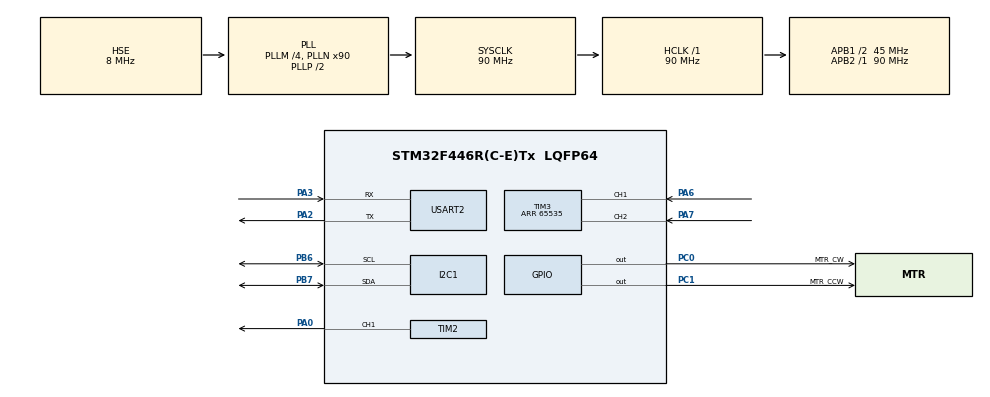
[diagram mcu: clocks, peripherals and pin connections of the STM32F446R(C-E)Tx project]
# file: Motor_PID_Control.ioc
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Dma.Request0=USART2_RX
Dma.Request1=USART2_TX
Dma.USART2_RX.0.Direction=DMA_PERIPH_TO_MEMORY
Dma.USART2_RX.0.FIFOMode=DMA_FIFOMODE_DISABLE
Dma.USART2_RX.0.Instance=DMA1_Stream5
Dma.USART2_RX.0.MemDataAlignment=DMA_MDATAALIGN_BYTE
Dma.USART2_RX.0.MemInc=DMA_MINC_ENABLE
Dma.USART2_RX.0.Mode=DMA_CIRCULAR
Dma.USART2_RX.0.PeriphDataAlignment=DMA_PDATAALIGN_BYTE
Dma.USART2_RX.0.PeriphInc=DMA_PINC_DISABLE
Dma.USART2_RX.0.Priority=DMA_PRIORITY_LOW
Dma.USART2_TX.1.Direction=DMA_MEMORY_TO_PERIPH
Dma.USART2_TX.1.FIFOMode=DMA_FIFOMODE_DISABLE
Dma.USART2_TX.1.Instance=DMA1_Stream6
Dma.USART2_TX.1.MemDataAlignment=DMA_MDATAALIGN_BYTE
Dma.USART2_TX.1.MemInc=DMA_MINC_ENABLE
Dma.USART2_TX.1.Mode=DMA_CIRCULAR
Dma.USART2_TX.1.PeriphDataAlignment=DMA_PDATAALIGN_BYTE
Dma.USART2_TX.1.PeriphInc=DMA_PINC_DISABLE
Dma.USART2_TX.1.Priority=DMA_PRIORITY_LOW
I2C1.I2C_Mode=I2C_Fast
Mcu.Family=STM32F4
Mcu.Name=STM32F446R(C-E)Tx
Mcu.Package=LQFP64
Mcu.UserConstants=MTR_MAX,12.0;MTR_MIN,-12.0;PWM_ARR,10000;MAX_DUTY,1.0;MIN_DUTY,-1.0;ENC_PPR,4000
NVIC.DMA1_Stream5_IRQn=true\:0\:0\:false\:false\:true\:false\:true\:true
NVIC.DMA1_Stream6_IRQn=true\:0\:0\:false\:false\:true\:false\:true\:true
NVIC.PriorityGroup=NVIC_PRIORITYGROUP_4
NVIC.TIM4_IRQn=true\:0\:0\:false\:false\:true\:true\:true\:true
NVIC.USART2_IRQn=true\:0\:0\:false\:false\:true\:true\:true\:true
PA0-WKUP.Signal=S_TIM2_CH1_ETR
PA13.Mode=Serial_Wire
PA13.Signal=SYS_JTMS-SWDIO
PA14.Mode=Serial_Wire
PA14.Signal=SYS_JTCK-SWCLK
PA2.Mode=Asynchronous
PA2.Signal=USART2_TX
PA3.Mode=Asynchronous
PA3.Signal=USART2_RX
PA6.Signal=S_TIM3_CH1
PA7.Signal=S_TIM3_CH2
PB6.Mode=I2C
PB6.Signal=I2C1_SCL
PB7.Mode=I2C
PB7.Signal=I2C1_SDA
PC0.GPIO_Label=MTR_CW
PC0.Signal=GPIO_Output
PC1.GPIO_Label=MTR_CCW
PC1.Signal=GPIO_Output
PH0-OSC_IN.Mode=HSE-External-Oscillator
PH0-OSC_IN.Signal=RCC_OSC_IN
PH1-OSC_OUT.Mode=HSE-External-Oscillator
PH1-OSC_OUT.Signal=RCC_OSC_OUT
ProjectManager.HeapSize=0x200
ProjectManager.StackSize=0x400
ProjectManager.TargetToolchain=STM32CubeIDE
RCC.AHBFreq_Value=90000000
RCC.APB1CLKDivider=RCC_HCLK_DIV2
RCC.APB1Freq_Value=45000000
RCC.APB1TimFreq_Value=90000000
RCC.APB2Freq_Value=90000000
RCC.APB2TimFreq_Value=90000000
RCC.CortexFreq_Value=90000000
RCC.HCLKFreq_Value=90000000
RCC.HSE_VALUE=8000000
RCC.PLLM=4
RCC.PLLN=90
RCC.PLLSourceVirtual=RCC_PLLSOURCE_HSE
RCC.SYSCLKFreq_VALUE=90000000
RCC.SYSCLKSource=RCC_SYSCLKSOURCE_PLLCLK
RCC.USBFreq_Value=90000000
RCC.VCOOutputFreq_Value=180000000
SH.S_TIM2_CH1_ETR.0=TIM2_CH1,PWM Generation1 CH1
SH.S_TIM3_CH1.0=TIM3_CH1,Encoder_Interface
SH.S_TIM3_CH2.0=TIM3_CH2,Encoder_Interface
TIM2.Channel-PWM\ Generation1\ CH1=TIM_CHANNEL_1
TIM2.Period=10000-1
TIM2.Prescaler=90-1
TIM3.EncoderMode=TIM_ENCODERMODE_TI12
TIM3.IC1Filter=15
TIM3.IC2Filter=15
TIM3.Period=65535
TIM4.Period=1000-1
TIM4.Prescaler=90-1
USART2.VirtualMode=VM_ASYNC
VP_TIM2_VS_ClockSourceINT.Mode=Internal
VP_TIM4_VS_ClockSourceINT.Mode=Internal
board=custom

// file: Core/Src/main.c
/* USER CODE BEGIN Header */
/**
  ******************************************************************************
  * @file           : main.c
  * @brief          : Main program body
  ******************************************************************************
  * @attention
  *
  * Copyright (c) 2025 STMicroelectronics.
  * All rights reserved.
  *
  * This software is licensed under terms that can be found in the LICENSE file
  * in the root directory of this software component.
  * If no LICENSE file comes with this software, it is provided AS-IS.
  *
  ******************************************************************************
  */
/* USER CODE END Header */
#include "main.h"

/* USER CODE BEGIN Includes */
#include "motor.h"
#include "encoder.h"
#include "pid.h"
/* USER CODE END Includes */

/* USER CODE BEGIN PTD */
typedef struct
{
	float time;
	float pos;
	float vel;
	float tau;
} Data;

/* USER CODE END PTD */

/* USER CODE BEGIN PD */
#define MTR_INIT_POS 0.0
#define TX_BUFF_SIZE 5001
#define SAMP_TIME 0.001
#define REFERENCE M_PI
/* a little bit overshoot */
#define KP 2.
#define KI .001
#define KD 3
/* USER CODE END PD */

I2C_HandleTypeDef hi2c1;

TIM_HandleTypeDef htim2;
TIM_HandleTypeDef htim3;
TIM_HandleTypeDef htim4;

UART_HandleTypeDef huart2;
DMA_HandleTypeDef hdma_usart2_rx;
DMA_HandleTypeDef hdma_usart2_tx;

/* USER CODE BEGIN PV */
Data myData[TX_BUFF_SIZE];
Encoder *e;
PID *pid;
uint16_t buff_index, routine, cnt;
char message[100];
/* USER CODE END PV */

void SystemClock_Config(void);
static void MX_GPIO_Init(void);
static void MX_DMA_Init(void);
static void MX_I2C1_Init(void);
static void MX_TIM2_Init(void);
static void MX_TIM3_Init(void);
static void MX_TIM4_Init(void);
static void MX_USART2_UART_Init(void);
/* USER CODE BEGIN PFP */
void ctrl_loop(void);
void data_Enqueue(float, float, float, float);
void data_Dequeue(void);
void signal_filter(Data *myData, uint16_t index);
/* USER CODE END PFP */

/* USER CODE BEGIN 0 */
void HAL_TIM_PeriodElapsedCallback(TIM_HandleTypeDef *htim)
{
	if (htim == &htim4)
	{
		ctrl_loop();
	}
}
void ctrl_loop(void)
{
	float time, pos, vel, tau, duty;
	cnt = __HAL_TIM_GET_COUNTER(&htim3);
	time = routine++ * SAMP_TIME;
	pos = ENC_pos(e, cnt) + MTR_INIT_POS;
	vel = ENC_vel(e, pos);
	tau = pid_control(pid, pos, REFERENCE);
	duty = mtr_duty(tau);
	mtr_output(duty);
	/* Load the data into the buffer. */
	data_Enqueue(time, pos, vel, tau);
}
void data_Enqueue(float time, float pos, float vel, float tau)
{
	if (buff_index >= TX_BUFF_SIZE)
	{
		HAL_TIM_PWM_Stop(&htim2, TIM_CHANNEL_1);
		HAL_TIM_Base_Stop_IT(&htim4);
		mtr_init();
		data_Dequeue();
	}
	myData[buff_index].time = time;
	myData[buff_index].pos = pos;
	myData[buff_index].vel = vel;
	myData[buff_index].tau = tau;
	buff_index++;
}
void data_Dequeue(void)
{
	for (uint16_t i = 0; i < TX_BUFF_SIZE; i++)
	{
		if (i) signal_filter(myData, i);
		sprintf(message, "%.3f,%.3f,%.3f,%.3f\r\n", myData[i].time, myData[i].pos, myData[i].vel, myData[i].tau);
		HAL_UART_Transmit(&huart2, (uint8_t *)message, strlen((char *)message), HAL_MAX_DELAY);
	}
}
void signal_filter(Data *myData, uint16_t index)
{
	float tau_pos, tau_vel, alpha_pos, alpha_vel;
	tau_pos = 0.002;
	tau_vel = 0.02;

	alpha_pos = SAMP_TIME / (SAMP_TIME + tau_pos);
	alpha_vel = SAMP_TIME / (SAMP_TIME + tau_vel);

	myData[index].pos = alpha_pos * myData[index].pos + (1 - alpha_pos) * myData[index - 1].pos;
	myData[index].vel = alpha_vel * myData[index].vel + (1 - alpha_vel) * myData[index - 1].vel;
}
/* USER CODE END 0 */

int main(void)
{

  /* MCU Configuration--------------------------------------------------------*/

  /* Reset of all peripherals, Initializes the Flash interface and the Systick. */
  HAL_Init();

  /* Configure the system clock */
  SystemClock_Config();

  /* Initialize all configured peripherals */
  MX_GPIO_Init();
  MX_DMA_Init();
  MX_I2C1_Init();
  MX_TIM2_Init();
  MX_TIM3_Init();
  MX_TIM4_Init();
  MX_USART2_UART_Init();
  /* USER CODE BEGIN 2 */
  HAL_TIM_PWM_Start(&htim2, TIM_CHANNEL_1);
  HAL_TIM_Encoder_Start(&htim3, TIM_CHANNEL_ALL);
  HAL_TIM_Base_Start_IT(&htim4);

  e = &((Encoder)
	  {
		.Ts = SAMP_TIME,
		.pre_pos = 0.0,
		.MTR_PPR = ENC_PPR,
		.pre_cnt = 0
	  });
  pid = &( (PID) {
    		.Kp = KP,
    		.Ki = KI,
    		.Kd = KD,
    		.err_pre = 0.0,
			.err_sum = 0.0,
    		.max_PID = MTR_MAX,
    		.min_PID = MTR_MIN,
    		.max_Integral = MTR_MAX / 2.0
        });
  memset(myData, 0, sizeof(Data));
  /* USER CODE END 2 */

  /* Infinite loop */
  while (1)
  {

  }
}

void SystemClock_Config(void)
{
  RCC_OscInitTypeDef RCC_OscInitStruct = {0};
  RCC_ClkInitTypeDef RCC_ClkInitStruct = {0};

  /** Configure the main internal regulator output voltage
  */
  __HAL_RCC_PWR_CLK_ENABLE();
  __HAL_PWR_VOLTAGESCALING_CONFIG(PWR_REGULATOR_VOLTAGE_SCALE3);

  /** Initializes the RCC Oscillators according to the specified parameters
  * in the RCC_OscInitTypeDef structure.
  */
  RCC_OscInitStruct.OscillatorType = RCC_OSCILLATORTYPE_HSE;
  RCC_OscInitStruct.HSEState = RCC_HSE_ON;
  RCC_OscInitStruct.PLL.PLLState = RCC_PLL_ON;
  RCC_OscInitStruct.PLL.PLLSource = RCC_PLLSOURCE_HSE;
  RCC_OscInitStruct.PLL.PLLM = 4;
  RCC_OscInitStruct.PLL.PLLN = 90;
  RCC_OscInitStruct.PLL.PLLP = RCC_PLLP_DIV2;
  RCC_OscInitStruct.PLL.PLLQ = 2;
  RCC_OscInitStruct.PLL.PLLR = 2;
  if (HAL_RCC_OscConfig(&RCC_OscInitStruct) != HAL_OK)
  {
    Error_Handler();
  }

  /** Initializes the CPU, AHB and APB buses clocks
  */
  RCC_ClkInitStruct.ClockType = RCC_CLOCKTYPE_HCLK|RCC_CLOCKTYPE_SYSCLK
                              |RCC_CLOCKTYPE_PCLK1|RCC_CLOCKTYPE_PCLK2;
  RCC_ClkInitStruct.SYSCLKSource = RCC_SYSCLKSOURCE_PLLCLK;
  RCC_ClkInitStruct.AHBCLKDivider = RCC_SYSCLK_DIV1;
  RCC_ClkInitStruct.APB1CLKDivider = RCC_HCLK_DIV2;
  RCC_ClkInitStruct.APB2CLKDivider = RCC_HCLK_DIV1;

  if (HAL_RCC_ClockConfig(&RCC_ClkInitStruct, FLASH_LATENCY_2) != HAL_OK)
  {
    Error_Handler();
  }
}

static void MX_I2C1_Init(void)
{

  hi2c1.Instance = I2C1;
  hi2c1.Init.ClockSpeed = 400000;
  hi2c1.Init.DutyCycle = I2C_DUTYCYCLE_2;
  hi2c1.Init.OwnAddress1 = 0;
  hi2c1.Init.AddressingMode = I2C_ADDRESSINGMODE_7BIT;
  hi2c1.Init.DualAddressMode = I2C_DUALADDRESS_DISABLE;
  hi2c1.Init.OwnAddress2 = 0;
  hi2c1.Init.GeneralCallMode = I2C_GENERALCALL_DISABLE;
  hi2c1.Init.NoStretchMode = I2C_NOSTRETCH_DISABLE;
  if (HAL_I2C_Init(&hi2c1) != HAL_OK)
  {
    Error_Handler();
  }

}

static void MX_TIM2_Init(void)
{

  TIM_ClockConfigTypeDef sClockSourceConfig = {0};
  TIM_MasterConfigTypeDef sMasterConfig = {0};
  TIM_OC_InitTypeDef sConfigOC = {0};

  htim2.Instance = TIM2;
  htim2.Init.Prescaler = 90-1;
  htim2.Init.CounterMode = TIM_COUNTERMODE_UP;
  htim2.Init.Period = 10000-1;
  htim2.Init.ClockDivision = TIM_CLOCKDIVISION_DIV1;
  htim2.Init.AutoReloadPreload = TIM_AUTORELOAD_PRELOAD_DISABLE;
  if (HAL_TIM_Base_Init(&htim2) != HAL_OK)
  {
    Error_Handler();
  }
  sClockSourceConfig.ClockSource = TIM_CLOCKSOURCE_INTERNAL;
  if (HAL_TIM_ConfigClockSource(&htim2, &sClockSourceConfig) != HAL_OK)
  {
    Error_Handler();
  }
  if (HAL_TIM_PWM_Init(&htim2) != HAL_OK)
  {
    Error_Handler();
  }
  sMasterConfig.MasterOutputTrigger = TIM_TRGO_RESET;
  sMasterConfig.MasterSlaveMode = TIM_MASTERSLAVEMODE_DISABLE;
  if (HAL_TIMEx_MasterConfigSynchronization(&htim2, &sMasterConfig) != HAL_OK)
  {
    Error_Handler();
  }
  sConfigOC.OCMode = TIM_OCMODE_PWM1;
  sConfigOC.Pulse = 0;
  sConfigOC.OCPolarity = TIM_OCPOLARITY_HIGH;
  sConfigOC.OCFastMode = TIM_OCFAST_DISABLE;
  if (HAL_TIM_PWM_ConfigChannel(&htim2, &sConfigOC, TIM_CHANNEL_1) != HAL_OK)
  {
    Error_Handler();
  }
  HAL_TIM_MspPostInit(&htim2);

}

static void MX_TIM3_Init(void)
{

  TIM_Encoder_InitTypeDef sConfig = {0};
  TIM_MasterConfigTypeDef sMasterConfig = {0};

  htim3.Instance = TIM3;
  htim3.Init.Prescaler = 0;
  htim3.Init.CounterMode = TIM_COUNTERMODE_UP;
  htim3.Init.Period = 65535;
  htim3.Init.ClockDivision = TIM_CLOCKDIVISION_DIV1;
  htim3.Init.AutoReloadPreload = TIM_AUTORELOAD_PRELOAD_DISABLE;
  sConfig.EncoderMode = TIM_ENCODERMODE_TI12;
  sConfig.IC1Polarity = TIM_ICPOLARITY_RISING;
  sConfig.IC1Selection = TIM_ICSELECTION_DIRECTTI;
  sConfig.IC1Prescaler = TIM_ICPSC_DIV1;
  sConfig.IC1Filter = 15;
  sConfig.IC2Polarity = TIM_ICPOLARITY_RISING;
  sConfig.IC2Selection = TIM_ICSELECTION_DIRECTTI;
  sConfig.IC2Prescaler = TIM_ICPSC_DIV1;
  sConfig.IC2Filter = 15;
  if (HAL_TIM_Encoder_Init(&htim3, &sConfig) != HAL_OK)
  {
    Error_Handler();
  }
  sMasterConfig.MasterOutputTrigger = TIM_TRGO_RESET;
  sMasterConfig.MasterSlaveMode = TIM_MASTERSLAVEMODE_DISABLE;
  if (HAL_TIMEx_MasterConfigSynchronization(&htim3, &sMasterConfig) != HAL_OK)
  {
    Error_Handler();
  }

}

static void MX_TIM4_Init(void)
{

  TIM_ClockConfigTypeDef sClockSourceConfig = {0};
  TIM_MasterConfigTypeDef sMasterConfig = {0};

  htim4.Instance = TIM4;
  htim4.Init.Prescaler = 90-1;
  htim4.Init.CounterMode = TIM_COUNTERMODE_UP;
  htim4.Init.Period = 1000-1;
  htim4.Init.ClockDivision = TIM_CLOCKDIVISION_DIV1;
  htim4.Init.AutoReloadPreload = TIM_AUTORELOAD_PRELOAD_DISABLE;
  if (HAL_TIM_Base_Init(&htim4) != HAL_OK)
  {
    Error_Handler();
  }
  sClockSourceConfig.ClockSource = TIM_CLOCKSOURCE_INTERNAL;
  if (HAL_TIM_ConfigClockSource(&htim4, &sClockSourceConfig) != HAL_OK)
  {
    Error_Handler();
  }
  sMasterConfig.MasterOutputTrigger = TIM_TRGO_RESET;
  sMasterConfig.MasterSlaveMode = TIM_MASTERSLAVEMODE_DISABLE;
  if (HAL_TIMEx_MasterConfigSynchronization(&htim4, &sMasterConfig) != HAL_OK)
  {
    Error_Handler();
  }

}

static void MX_USART2_UART_Init(void)
{

  huart2.Instance = USART2;
  huart2.Init.BaudRate = 115200;
  huart2.Init.WordLength = UART_WORDLENGTH_8B;
  huart2.Init.StopBits = UART_STOPBITS_1;
  huart2.Init.Parity = UART_PARITY_NONE;
  huart2.Init.Mode = UART_MODE_TX_RX;
  huart2.Init.HwFlowCtl = UART_HWCONTROL_NONE;
  huart2.Init.OverSampling = UART_OVERSAMPLING_16;
  if (HAL_UART_Init(&huart2) != HAL_OK)
  {
    Error_Handler();
  }

}

static void MX_DMA_Init(void)
{

  /* DMA controller clock enable */
  __HAL_RCC_DMA1_CLK_ENABLE();

  /* DMA interrupt init */
  /* DMA1_Stream5_IRQn interrupt configuration */
  HAL_NVIC_SetPriority(DMA1_Stream5_IRQn, 0, 0);
  HAL_NVIC_EnableIRQ(DMA1_Stream5_IRQn);
  /* DMA1_Stream6_IRQn interrupt configuration */
  HAL_NVIC_SetPriority(DMA1_Stream6_IRQn, 0, 0);
  HAL_NVIC_EnableIRQ(DMA1_Stream6_IRQn);

}

static void MX_GPIO_Init(void)
{
  GPIO_InitTypeDef GPIO_InitStruct = {0};

  /* GPIO Ports Clock Enable */
  __HAL_RCC_GPIOH_CLK_ENABLE();
  __HAL_RCC_GPIOC_CLK_ENABLE();
  __HAL_RCC_GPIOA_CLK_ENABLE();
  __HAL_RCC_GPIOB_CLK_ENABLE();

  /*Configure GPIO pin Output Level */
  HAL_GPIO_WritePin(GPIOC, MTR_CW_Pin|MTR_CCW_Pin, GPIO_PIN_RESET);

  /*Configure GPIO pins : MTR_CW_Pin MTR_CCW_Pin */
  GPIO_InitStruct.Pin = MTR_CW_Pin|MTR_CCW_Pin;
  GPIO_InitStruct.Mode = GPIO_MODE_OUTPUT_PP;
  GPIO_InitStruct.Pull = GPIO_NOPULL;
  GPIO_InitStruct.Speed = GPIO_SPEED_FREQ_LOW;
  HAL_GPIO_Init(GPIOC, &GPIO_InitStruct);

}

void Error_Handler(void)
{
  __disable_irq();
  while (1)
  {
  }
}
